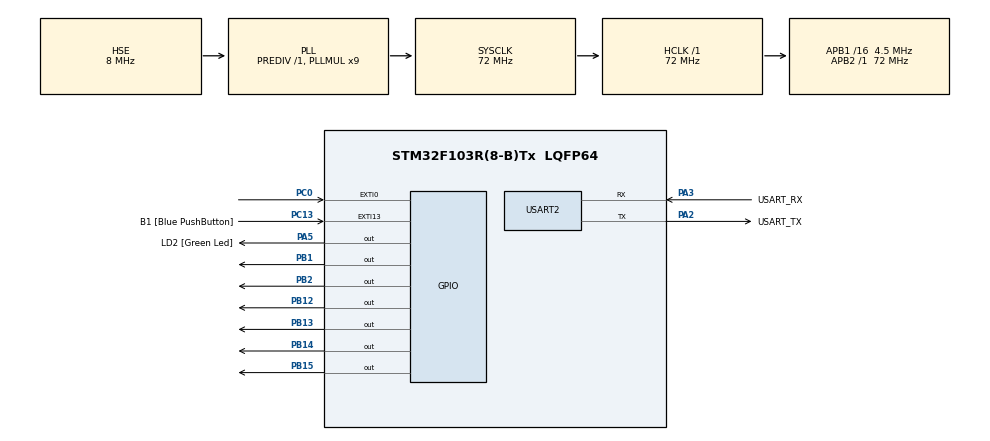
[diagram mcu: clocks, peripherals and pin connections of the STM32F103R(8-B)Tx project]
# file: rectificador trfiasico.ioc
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Mcu.Family=STM32F1
Mcu.Name=STM32F103R(8-B)Tx
Mcu.Package=LQFP64
NVIC.EXTI0_IRQn=true\:0\:0\:false\:false\:true\:true\:true\:true
NVIC.EXTI15_10_IRQn=true\:0\:0\:false\:false\:true\:true\:true\:true
NVIC.PriorityGroup=NVIC_PRIORITYGROUP_4
NVIC.TIM2_IRQn=true\:0\:0\:false\:false\:true\:true\:true\:true
NVIC.TIM3_IRQn=true\:0\:0\:false\:false\:true\:true\:true\:true
PA13.GPIO_Label=TMS
PA13.Mode=Serial_Wire
PA13.Signal=SYS_JTMS-SWDIO
PA14.GPIO_Label=TCK
PA14.Mode=Serial_Wire
PA14.Signal=SYS_JTCK-SWCLK
PA2.GPIO_Label=USART_TX
PA2.GPIO_Mode=GPIO_MODE_AF_PP
PA2.GPIO_PuPd=GPIO_NOPULL
PA2.GPIO_Speed=GPIO_SPEED_FREQ_LOW
PA2.Mode=Asynchronous
PA2.Signal=USART2_TX
PA3.GPIO_Label=USART_RX
PA3.GPIO_Mode=GPIO_MODE_AF_PP
PA3.GPIO_PuPd=GPIO_NOPULL
PA3.GPIO_Speed=GPIO_SPEED_FREQ_LOW
PA3.Mode=Asynchronous
PA3.Signal=USART2_RX
PA5.GPIO_Label=LD2 [Green Led]
PA5.GPIO_ModeDefaultOutputPP=GPIO_MODE_OUTPUT_PP
PA5.GPIO_PuPd=GPIO_NOPULL
PA5.GPIO_Speed=GPIO_SPEED_FREQ_LOW
PA5.Signal=GPIO_Output
PB1.Signal=GPIO_Output
PB12.Signal=GPIO_Output
PB13.Signal=GPIO_Output
PB14.Signal=GPIO_Output
PB15.Signal=GPIO_Output
PB2.Signal=GPIO_Output
PB3.GPIO_Label=SWO
PB3.Signal=SYS_JTDO-TRACESWO
PC0.GPIO_ModeDefaultEXTI=GPIO_MODE_IT_FALLING
PC0.Signal=GPXTI0
PC13-TAMPER-RTC.GPIO_Label=B1 [Blue PushButton]
PC13-TAMPER-RTC.GPIO_ModeDefaultEXTI=GPIO_MODE_IT_FALLING
PC13-TAMPER-RTC.GPIO_PuPd=GPIO_PULLUP
PC13-TAMPER-RTC.Signal=GPXTI13
PC14-OSC32_IN.Mode=LSE-External-Oscillator
PC14-OSC32_IN.Signal=RCC_OSC32_IN
PC15-OSC32_OUT.Mode=LSE-External-Oscillator
PC15-OSC32_OUT.Signal=RCC_OSC32_OUT
PD0-OSC_IN.Mode=HSE-External-Clock-Source
PD0-OSC_IN.Signal=RCC_OSC_IN
PD1-OSC_OUT.Mode=HSE-External-Clock-Source
PD1-OSC_OUT.Signal=RCC_OSC_OUT
ProjectManager.HeapSize=0x200
ProjectManager.StackSize=0x400
ProjectManager.TargetToolchain=STM32CubeIDE
RCC.AHBFreq_Value=72000000
RCC.APB1CLKDivider=RCC_HCLK_DIV16
RCC.APB1Freq_Value=4500000
RCC.APB1TimFreq_Value=9000000
RCC.APB2Freq_Value=72000000
RCC.APB2TimFreq_Value=72000000
RCC.HCLKFreq_Value=72000000
RCC.PLLMUL=RCC_PLL_MUL9
RCC.PLLSourceVirtual=RCC_PLLSOURCE_HSE
RCC.RTCClockSelection=RCC_RTCCLKSOURCE_LSE
RCC.SYSCLKFreq_VALUE=72000000
RCC.SYSCLKSource=RCC_SYSCLKSOURCE_PLLCLK
RCC.USBFreq_Value=72000000
TIM2.Period=1
TIM2.Prescaler=60
TIM3.Period=1
TIM3.Prescaler=3124
USART2.VirtualMode=VM_ASYNC
VP_TIM2_VS_ClockSourceINT.Mode=Internal
VP_TIM3_VS_ClockSourceINT.Mode=Internal
board=NUCLEO-F103RB

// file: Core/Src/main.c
/* USER CODE BEGIN Header */
/**
 ******************************************************************************
 * @file           : main.c
 * @brief          : Main program body
 ******************************************************************************
 * @attention
 *
 * Copyright (c) 2025 STMicroelectronics.
 * All rights reserved.
 *
 * This software is licensed under terms that can be found in the LICENSE file
 * in the root directory of this software component.
 * If no LICENSE file comes with this software, it is provided AS-IS.
 *
 ******************************************************************************
 */
/* USER CODE END Header */
#include "main.h"
#include "tim.h"
#include "usart.h"
#include "gpio.h"

/* USER CODE BEGIN Includes */
#define TIEMPO 0.00009
float timer2f, alpha=60,desfase_en_sefundos;
int contador=0, frecuencia=240;
/* USER CODE END Includes */

void SystemClock_Config(void);

int main(void)
{

	/* MCU Configuration--------------------------------------------------------*/

	/* Reset of all peripherals, Initializes the Flash interface and the Systick. */
	HAL_Init();

	/* Configure the system clock */
	SystemClock_Config();

	/* Initialize all configured peripherals */
	MX_GPIO_Init();
	MX_USART2_UART_Init();
	MX_TIM2_Init();
	MX_TIM3_Init();
	/* USER CODE BEGIN 2 */
	//HAL_TIM_Base_Start_IT(&htim3);

	desfase_en_sefundos=(alpha/(6*frecuencia*60));
	timer2f=((desfase_en_sefundos*9000000)/(2))-1;
	htim2.Instance->PSC=(int)timer2f;
	/* USER CODE END 2 */

	/* Infinite loop */
	while (1)
	{

	}
}

void SystemClock_Config(void)
{
	RCC_OscInitTypeDef RCC_OscInitStruct = {0};
	RCC_ClkInitTypeDef RCC_ClkInitStruct = {0};

	/** Initializes the RCC Oscillators according to the specified parameters
	 * in the RCC_OscInitTypeDef structure.
	 */
	RCC_OscInitStruct.OscillatorType = RCC_OSCILLATORTYPE_HSE;
	RCC_OscInitStruct.HSEState = RCC_HSE_BYPASS;
	RCC_OscInitStruct.HSEPredivValue = RCC_HSE_PREDIV_DIV1;
	RCC_OscInitStruct.HSIState = RCC_HSI_ON;
	RCC_OscInitStruct.PLL.PLLState = RCC_PLL_ON;
	RCC_OscInitStruct.PLL.PLLSource = RCC_PLLSOURCE_HSE;
	RCC_OscInitStruct.PLL.PLLMUL = RCC_PLL_MUL9;
	if (HAL_RCC_OscConfig(&RCC_OscInitStruct) != HAL_OK)
	{
		Error_Handler();
	}

	/** Initializes the CPU, AHB and APB buses clocks
	 */
	RCC_ClkInitStruct.ClockType = RCC_CLOCKTYPE_HCLK|RCC_CLOCKTYPE_SYSCLK
			|RCC_CLOCKTYPE_PCLK1|RCC_CLOCKTYPE_PCLK2;
	RCC_ClkInitStruct.SYSCLKSource = RCC_SYSCLKSOURCE_PLLCLK;
	RCC_ClkInitStruct.AHBCLKDivider = RCC_SYSCLK_DIV1;
	RCC_ClkInitStruct.APB1CLKDivider = RCC_HCLK_DIV16;
	RCC_ClkInitStruct.APB2CLKDivider = RCC_HCLK_DIV1;

	if (HAL_RCC_ClockConfig(&RCC_ClkInitStruct, FLASH_LATENCY_2) != HAL_OK)
	{
		Error_Handler();
	}
}

/* USER CODE BEGIN 4 */
void HAL_TIM_PeriodElapsedCallback(TIM_HandleTypeDef *htim)
{
	if (htim->Instance == TIM2)  // Verifica si la interrupción vino del TIM2
	{
		HAL_NVIC_DisableIRQ(EXTI0_IRQn);
		HAL_TIM_Base_Stop_IT(&htim2);

		HAL_GPIO_WritePin(GPIOB, GPIO_PIN_2, 0);
		HAL_GPIO_WritePin(GPIOB, GPIO_PIN_1, 0);

		HAL_GPIO_WritePin(GPIOB, GPIO_PIN_15, 1);
		HAL_GPIO_WritePin(GPIOB, GPIO_PIN_1, 1);

		contador++;
		__HAL_TIM_CLEAR_FLAG(&htim3, TIM_FLAG_UPDATE);
		__HAL_TIM_SET_COUNTER(&htim3, 0);
		HAL_TIM_Base_Start_IT(&htim3);

	}
	else if (htim->Instance == TIM3) // Verifica si la interrupción vino del TIM3
	{
		switch (contador) {
		case 1:
			HAL_GPIO_WritePin(GPIOB, GPIO_PIN_15, 0);
			HAL_GPIO_WritePin(GPIOB, GPIO_PIN_1, 0);

			HAL_GPIO_WritePin(GPIOB, GPIO_PIN_15, 1);
			HAL_GPIO_WritePin(GPIOB, GPIO_PIN_14, 1);
			contador++;
			break;
		case 2:
			HAL_GPIO_WritePin(GPIOB, GPIO_PIN_15, 0);
			HAL_GPIO_WritePin(GPIOB, GPIO_PIN_14, 0);

			HAL_GPIO_WritePin(GPIOB, GPIO_PIN_13, 1);
			HAL_GPIO_WritePin(GPIOB, GPIO_PIN_14, 1);
			contador++;
			break;
		case 3:
			HAL_GPIO_WritePin(GPIOB, GPIO_PIN_13, 0);
			HAL_GPIO_WritePin(GPIOB, GPIO_PIN_14, 0);

			HAL_GPIO_WritePin(GPIOB, GPIO_PIN_13, 1);
			HAL_GPIO_WritePin(GPIOB, GPIO_PIN_12, 1);
			contador++;
			break;
		case 4:
			HAL_GPIO_WritePin(GPIOB, GPIO_PIN_13, 0);
			HAL_GPIO_WritePin(GPIOB, GPIO_PIN_12, 0);

			HAL_GPIO_WritePin(GPIOB, GPIO_PIN_2, 1);
			HAL_GPIO_WritePin(GPIOB, GPIO_PIN_12, 1);

			contador++;
			break;
		case 5:

			HAL_GPIO_WritePin(GPIOB, GPIO_PIN_2, 0);
			HAL_GPIO_WritePin(GPIOB, GPIO_PIN_12, 0);

			HAL_GPIO_WritePin(GPIOB, GPIO_PIN_2, 1);
			HAL_GPIO_WritePin(GPIOB, GPIO_PIN_1, 1);

			contador=0;
			HAL_TIM_Base_Stop_IT(&htim3);
			HAL_NVIC_EnableIRQ(EXTI0_IRQn);
			break;
		}
	}
}
void HAL_GPIO_EXTI_Callback(uint16_t GPIO_Pin)
{
	if (GPIO_Pin == GPIO_PIN_0) {
		HAL_GPIO_TogglePin(GPIOA, GPIO_PIN_5);
		__HAL_TIM_CLEAR_FLAG(&htim2, TIM_FLAG_UPDATE);
		__HAL_TIM_SET_COUNTER(&htim2, 0);
		HAL_TIM_Base_Start_IT(&htim2);
	}
}
/* USER CODE END 4 */

void Error_Handler(void)
{
	__disable_irq();
	while (1)
	{
	}
}
